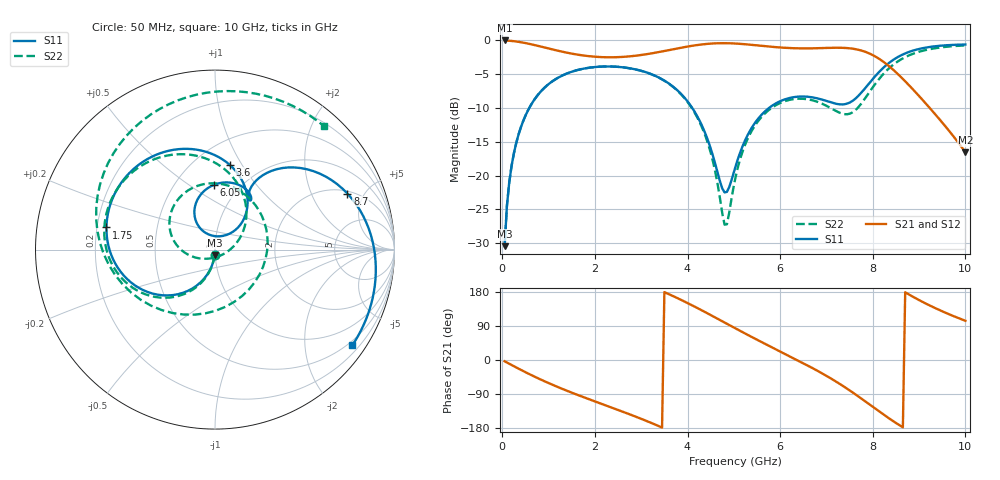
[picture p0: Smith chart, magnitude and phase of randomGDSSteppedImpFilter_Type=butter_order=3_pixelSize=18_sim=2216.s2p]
! freq	dB(S11)	phase(S11)	dB(S12)	phase(S12)
!  dB(S21)	phase(S21)	dB(S22)	phase(S22)
!S-par simulation data
#  GHz  S  DB  R 50
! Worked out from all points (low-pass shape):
!   200 points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, 50 MHz to 10 GHz, reference 50 ohm
!   highest |S21| = -0.01 dB at 50 MHz (marker M1); lowest = -16.6 dB at 10 GHz (marker M2)
!   |S21| within 3 dB of the highest: start of sweep to 8.198 GHz
!   lowest |S11| = -30.5 dB at 50 MHz (marker M3), VSWR 1.06, Z = 49.7 - j2.98 ohm
!   |S11| at or under -10 dB: start of sweep to 583.1 MHz; 4.101 GHz to 5.76 GHz (1.659 GHz wide, 33.6 % of centre)
!   |S22| runs from -30.5 to -0.7 dB; largest |S21 - S12| = 0
!   S11 on the Smith chart (normalised r, x): 50 MHz: 0.99, -0.06; 1.75 GHz: 0.24, +0.10; 3.6 GHz: 0.72, +0.89; 6.05 GHz: 0.76, +0.63; 8.7 GHz: 2.15, +3.76; 10 GHz: 0.39, -3.15
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0.05  -30.46 -93.6  -0.01 -3.3  -0.01 -3.3  -30.46 -93.4
0.1  -24.49 -97.1  -0.03 -6.6  -0.03 -6.6  -24.49 -96.8
0.2  -18.59 -104.0  -0.08 -13.2  -0.08 -13.2  -18.59 -103.2
0.5  -11.14 -123.6  -0.39 -32.2  -0.39 -32.2  -11.14 -121.7
1.05  -6.21 -156.1  -1.28 -63.6  -1.28 -63.6  -6.21 -152.2
1.75  -4.19 168.5  -2.23 -97.9  -2.23 -97.9  -4.19 174.8
2.65  -4.02 126.7  -2.42 -138.6  -2.42 -138.6  -4.03 135.6
3.4  -5.56 90.3  -1.70 -175.5  -1.70 -175.5  -5.59 99.4
3.6  -6.40 80.1  -1.43 173.6  -1.43 173.6  -6.43 88.5
4.35  -13.22 45.5  -0.57 128.4  -0.57 128.4  -13.51 38.1
4.8  -22.51 80.3  -0.41 98.9  -0.41 98.9  -27.28 -56.2
5.05  -18.37 122.4  -0.47 82.5  -0.47 82.5  -19.84 -151.6
5.45  -12.27 118.1  -0.70 56.7  -0.70 56.7  -12.67 168.4
6.05  -8.86 91.0  -1.07 19.4  -1.07 19.4  -9.13 124.9
6.7  -8.43 63.6  -1.17 -21.4  -1.17 -21.4  -8.87 73.3
7.2  -9.37 54.0  -1.09 -56.4  -1.09 -56.4  -10.43 14.4
7.55  -9.01 58.3  -1.21 -84.3  -1.21 -84.3  -10.71 -49.5
7.95  -6.12 57.2  -2.01 -119.2  -2.01 -119.2  -7.43 -123.7
8.35  -3.34 41.1  -3.81 -153.9  -3.81 -153.9  -4.14 -177.9
8.7  -1.93 22.9  -6.05 178.7  -6.05 178.7  -2.48 145.7
9.35  -0.86 -8.4  -10.95 136.9  -10.95 136.9  -1.15 92.8
10  -0.61 -34.8  -16.57 103.6  -16.57 103.6  -0.75 48.4
